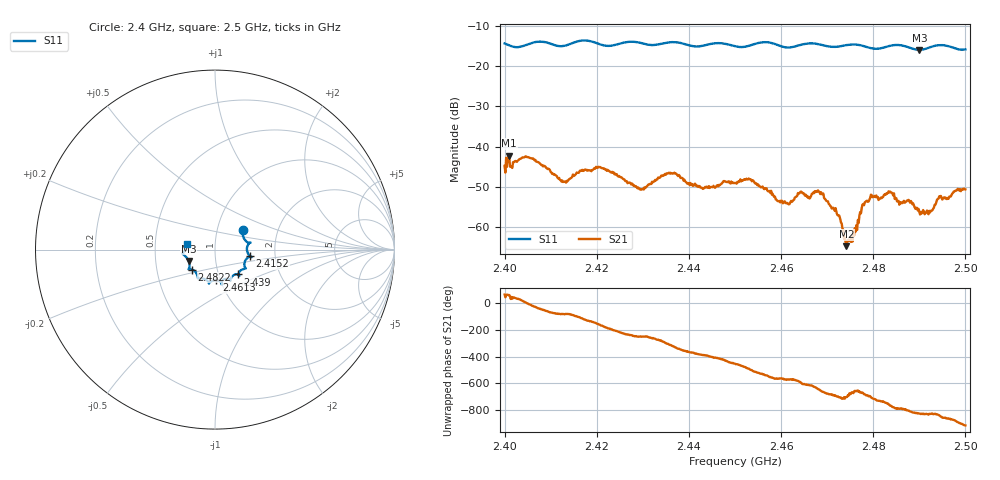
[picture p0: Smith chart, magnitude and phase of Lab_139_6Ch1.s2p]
# Hz S RI R 50
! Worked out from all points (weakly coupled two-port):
!   601 points, 2.4 GHz to 2.5 GHz, reference 50 ohm
!   highest |S21| = -42.19 dB at 2.401 GHz (marker M1); lowest = -64.7 dB at 2.4742 GHz (marker M2)
!   lowest |S11| = -15.9 dB at 2.49 GHz (marker M3), VSWR 1.38, Z = 37 - j4.84 ohm
!   |S11| at or under -10 dB: start of sweep to end of sweep
!   S12 and S22 are empty: the file has one direction only
!   S11 on the Smith chart (normalised r, x): 2.4 GHz: 1.33, +0.31; 2.4152 GHz: 1.48, -0.11; 2.439 GHz: 1.24, -0.36; 2.4613 GHz: 0.96, -0.34; 2.4822 GHz: 0.76, -0.17; 2.5 GHz: 0.72, +0.05
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2.4e9  0.1563 0.1112  0.00258 0.00517  0 0  0 0
2.401e9  0.1546 0.0956  0.0039 0.00672  0 0  0 0
2.405e9  0.1824 0.0397  0.00742 -0.00048  0 0  0 0
2.412833e9  0.1787 -0.00744  0.000479 -0.00364  0 0  0 0
2.415167e9  0.1946 -0.0365  -0.000318 -0.00437  0 0  0 0
2.416667e9  0.2041 -0.0422  -0.002 -0.0046  0 0  0 0
2.420833e9  0.1802 -0.0466  -0.00537 -0.00134  0 0  0 0
2.429667e9  0.1618 -0.1072  -0.000947 0.00277  0 0  0 0
2.433333e9  0.1322 -0.132  0.000254 0.00414  0 0  0 0
2.439e9  0.1287 -0.1386  0.00389 0.000352  0 0  0 0
2.45e9  0.0688 -0.1636  -0.000146 -0.00355  0 0  0 0
2.4535e9  0.0364 -0.1796  -0.00296 -0.00255  0 0  0 0
2.461333e9  0.00706 -0.1708  -0.00174 0.000985  0 0  0 0
2.466667e9  -0.0334 -0.1899  -0.000668 0.00251  0 0  0 0
2.471667e9  -0.0615 -0.1625  0.00134 0.000857  0 0  0 0
2.474167e9  -0.0874 -0.161  0.000551 0.000185  0 0  0 0
2.475667e9  -0.0934 -0.1613  0.000558 0.000615  0 0  0 0
2.478167e9  -0.0974 -0.147  0.00159 0.00127  0 0  0 0
2.482167e9  -0.1282 -0.1119  0.00232 -0.000554  0 0  0 0
2.483333e9  -0.1394 -0.1103  0.00225 -0.00164  0 0  0 0
2.49e9  -0.1465 -0.0638  -0.000371 -0.00149  0 0  0 0
2.5e9  -0.1587 0.033  -0.00287 0.000673  0 0  0 0
